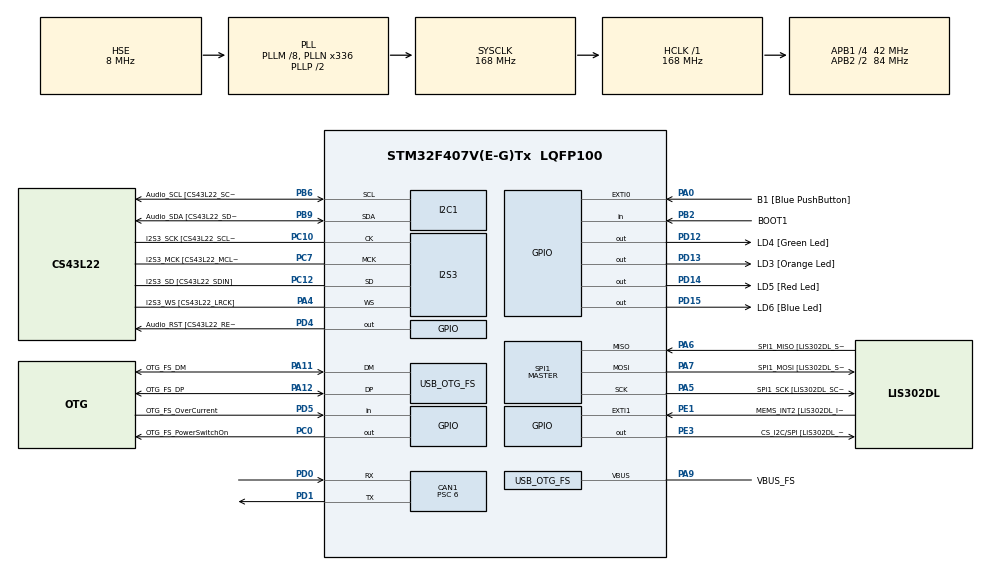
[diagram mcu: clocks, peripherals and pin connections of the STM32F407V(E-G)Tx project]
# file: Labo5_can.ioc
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CAN1.BS1=CAN_BS1_11TQ
CAN1.BS2=CAN_BS2_2TQ
CAN1.CalculateBaudRate=500000
CAN1.CalculateTimeBit=2000
CAN1.CalculateTimeQuantum=142.85714285714286
CAN1.Prescaler=6
I2S3.AudioFreq-Half_Duplex_Master=I2S_AUDIOFREQ_96K
I2S3.ErrorAudioFreq=-2.34 %
I2S3.ErrorAudioFreq-Half_Duplex_Master=0.8 %
I2S3.FullDuplexMode=I2S_FULLDUPLEXMODE_DISABLE
I2S3.Instance=SPI$Index
I2S3.RealAudioFreq=93.75 KHz
I2S3.RealAudioFreq-Half_Duplex_Master=96.774 KHz
I2S3.VirtualMode=I2S_MODE_MASTER
Mcu.Family=STM32F4
Mcu.Name=STM32F407V(E-G)Tx
Mcu.Package=LQFP100
NVIC.CAN1_RX0_IRQn=true\:0\:0\:false\:false\:true\:true\:true\:true
NVIC.OTG_FS_IRQn=true\:0\:0\:false\:false\:true\:true\:true\:true
NVIC.PriorityGroup=NVIC_PRIORITYGROUP_0
PA0-WKUP.GPIO_Label=B1 [Blue PushButton]
PA0-WKUP.GPIO_ModeDefaultEXTI=GPIO_MODE_EVT_RISING
PA0-WKUP.GPIO_PuPd=GPIO_NOPULL
PA0-WKUP.Signal=GPXTI0
PA10.GPIO_Label=OTG_FS_ID
PA10.GPIO_Mode=GPIO_MODE_AF_PP
PA10.GPIO_PuPd=GPIO_NOPULL
PA10.GPIO_Speed=GPIO_SPEED_FREQ_LOW
PA10.Signal=USB_OTG_FS_ID
PA11.GPIO_Label=OTG_FS_DM
PA11.GPIO_Mode=GPIO_MODE_AF_PP
PA11.GPIO_PuPd=GPIO_NOPULL
PA11.GPIO_Speed=GPIO_SPEED_FREQ_LOW
PA11.Mode=Device_Only
PA11.Signal=USB_OTG_FS_DM
PA12.GPIO_Label=OTG_FS_DP
PA12.GPIO_Mode=GPIO_MODE_AF_PP
PA12.GPIO_PuPd=GPIO_NOPULL
PA12.GPIO_Speed=GPIO_SPEED_FREQ_LOW
PA12.Mode=Device_Only
PA12.Signal=USB_OTG_FS_DP
PA13.GPIO_Label=SWDIO
PA13.Mode=Serial_Wire
PA13.Signal=SYS_JTMS-SWDIO
PA14.GPIO_Label=SWCLK
PA14.Mode=Serial_Wire
PA14.Signal=SYS_JTCK-SWCLK
PA4.GPIO_Label=I2S3_WS [CS43L22_LRCK]
PA4.GPIO_Mode=GPIO_MODE_AF_PP
PA4.GPIO_PuPd=GPIO_NOPULL
PA4.GPIO_Speed=GPIO_SPEED_FREQ_LOW
PA4.Mode=Half_Duplex_Master
PA4.Signal=I2S3_WS
PA5.GPIO_Label=SPI1_SCK [LIS302DL_SCL/SPC]
PA5.GPIO_Mode=GPIO_MODE_AF_PP
PA5.GPIO_PuPd=GPIO_NOPULL
PA5.GPIO_Speed=GPIO_SPEED_FREQ_LOW
PA5.Mode=Full_Duplex_Master
PA5.Signal=SPI1_SCK
PA6.GPIO_Label=SPI1_MISO [LIS302DL_SDO]
PA6.GPIO_Mode=GPIO_MODE_AF_PP
PA6.GPIO_PuPd=GPIO_NOPULL
PA6.GPIO_Speed=GPIO_SPEED_FREQ_LOW
PA6.Mode=Full_Duplex_Master
PA6.Signal=SPI1_MISO
PA7.GPIO_Label=SPI1_MOSI [LIS302DL_SDA/SDI/SDO]
PA7.GPIO_Mode=GPIO_MODE_AF_PP
PA7.GPIO_PuPd=GPIO_NOPULL
PA7.GPIO_Speed=GPIO_SPEED_FREQ_LOW
PA7.Mode=Full_Duplex_Master
PA7.Signal=SPI1_MOSI
PA9.GPIO_Label=VBUS_FS
PA9.GPIO_Mode=GPIO_MODE_INPUT
PA9.GPIO_PuPd=GPIO_NOPULL
PA9.Mode=Activate_VBUS
PA9.Signal=USB_OTG_FS_VBUS
PB10.GPIO_Label=CLK_IN [MP45DT02_CLK]
PB10.GPIO_Mode=GPIO_MODE_AF_PP
PB10.GPIO_PuPd=GPIO_NOPULL
PB10.GPIO_Speed=GPIO_SPEED_FREQ_LOW
PB10.Signal=I2S2_CK
PB2.GPIO_Label=BOOT1
PB2.GPIO_Mode=GPIO_MODE_INPUT
PB2.GPIO_PuPd=GPIO_NOPULL
PB2.Signal=GPIO_Input
PB3.GPIO_Label=SWO
PB3.Signal=SYS_JTDO-SWO
PB6.GPIO_Label=Audio_SCL [CS43L22_SCL]
PB6.GPIO_Mode=GPIO_MODE_AF_OD
PB6.GPIO_Pu=GPIO_PULLUP
PB6.GPIO_PuPd=GPIO_NOPULL
PB6.GPIO_Speed=GPIO_SPEED_FREQ_LOW
PB6.Mode=I2C
PB6.Signal=I2C1_SCL
PB9.GPIO_Label=Audio_SDA [CS43L22_SDA]
PB9.GPIO_Mode=GPIO_MODE_AF_OD
PB9.GPIO_Pu=GPIO_PULLUP
PB9.GPIO_PuPd=GPIO_NOPULL
PB9.GPIO_Speed=GPIO_SPEED_FREQ_LOW
PB9.Mode=I2C
PB9.Signal=I2C1_SDA
PC0.GPIO_Label=OTG_FS_PowerSwitchOn
PC0.GPIO_PuPd=GPIO_NOPULL
PC0.GPIO_Speed=GPIO_SPEED_FREQ_LOW
PC0.PinState=GPIO_PIN_SET
PC0.Signal=GPIO_Output
PC10.GPIO_Label=I2S3_SCK [CS43L22_SCLK]
PC10.GPIO_Mode=GPIO_MODE_AF_PP
PC10.GPIO_PuPd=GPIO_NOPULL
PC10.GPIO_Speed=GPIO_SPEED_FREQ_LOW
PC10.Mode=Half_Duplex_Master
PC10.Signal=I2S3_CK
PC12.GPIO_Label=I2S3_SD [CS43L22_SDIN]
PC12.GPIO_Mode=GPIO_MODE_AF_PP
PC12.GPIO_PuPd=GPIO_NOPULL
PC12.GPIO_Speed=GPIO_SPEED_FREQ_LOW
PC12.Mode=Half_Duplex_Master
PC12.Signal=I2S3_SD
PC14-OSC32_IN.GPIO_Label=PC14-OSC32_IN
PC14-OSC32_IN.Mode=LSE-External-Oscillator
PC14-OSC32_IN.Signal=RCC_OSC32_IN
PC15-OSC32_OUT.GPIO_Label=PC15-OSC32_OUT
PC15-OSC32_OUT.Mode=LSE-External-Oscillator
PC15-OSC32_OUT.Signal=RCC_OSC32_OUT
PC3.GPIO_Label=PDM_OUT [MP45DT02_DOUT]
PC3.GPIO_Mode=GPIO_MODE_AF_PP
PC3.GPIO_PuPd=GPIO_NOPULL
PC3.GPIO_Speed=GPIO_SPEED_FREQ_LOW
PC3.Signal=I2S2_SD
PC7.GPIO_Label=I2S3_MCK [CS43L22_MCLK]
PC7.GPIO_Mode=GPIO_MODE_AF_PP
PC7.GPIO_PuPd=GPIO_NOPULL
PC7.GPIO_Speed=GPIO_SPEED_FREQ_LOW
PC7.Mode=Master_Clock_Activated
PC7.Signal=I2S3_MCK
PD0.Mode=CAN_Activate
PD0.Signal=CAN1_RX
PD1.Mode=CAN_Activate
PD1.Signal=CAN1_TX
PD12.GPIO_Label=LD4 [Green Led]
PD12.GPIO_PuPd=GPIO_NOPULL
PD12.GPIO_Speed=GPIO_SPEED_FREQ_LOW
PD12.Signal=GPIO_Output
PD13.GPIO_Label=LD3 [Orange Led]
PD13.GPIO_PuPd=GPIO_NOPULL
PD13.GPIO_Speed=GPIO_SPEED_FREQ_LOW
PD13.Signal=GPIO_Output
PD14.GPIO_Label=LD5 [Red Led]
PD14.GPIO_PuPd=GPIO_NOPULL
PD14.GPIO_Speed=GPIO_SPEED_FREQ_LOW
PD14.Signal=GPIO_Output
PD15.GPIO_Label=LD6 [Blue Led]
PD15.GPIO_PuPd=GPIO_NOPULL
PD15.GPIO_Speed=GPIO_SPEED_FREQ_LOW
PD15.Signal=GPIO_Output
PD4.GPIO_Label=Audio_RST [CS43L22_RESET]
PD4.GPIO_PuPd=GPIO_NOPULL
PD4.GPIO_Speed=GPIO_SPEED_FREQ_LOW
PD4.Signal=GPIO_Output
PD5.GPIO_Label=OTG_FS_OverCurrent
PD5.GPIO_Mode=GPIO_MODE_INPUT
PD5.GPIO_PuPd=GPIO_NOPULL
PD5.Signal=GPIO_Input
PE1.GPIO_Label=MEMS_INT2 [LIS302DL_INT2]
PE1.GPIO_ModeDefaultEXTI=GPIO_MODE_EVT_RISING
PE1.GPIO_PuPd=GPIO_NOPULL
PE1.Signal=GPXTI1
PE3.GPIO_Label=CS_I2C/SPI [LIS302DL_CS_I2C/SPI]
PE3.GPIO_PuPd=GPIO_NOPULL
PE3.GPIO_Speed=GPIO_SPEED_FREQ_LOW
PE3.Signal=GPIO_Output
PH0-OSC_IN.GPIO_Label=PH0-OSC_IN
PH0-OSC_IN.Mode=HSE-External-Oscillator
PH0-OSC_IN.Signal=RCC_OSC_IN
PH1-OSC_OUT.GPIO_Label=PH1-OSC_OUT
PH1-OSC_OUT.Mode=HSE-External-Oscillator
PH1-OSC_OUT.Signal=RCC_OSC_OUT
ProjectManager.HeapSize=0x200
ProjectManager.StackSize=0x400
ProjectManager.TargetToolchain=STM32CubeIDE
RCC.48MHZClocksFreq_Value=48000000
RCC.AHBFreq_Value=168000000
RCC.APB1CLKDivider=RCC_HCLK_DIV4
RCC.APB1Freq_Value=42000000
RCC.APB1TimFreq_Value=84000000
RCC.APB2CLKDivider=RCC_HCLK_DIV2
RCC.APB2Freq_Value=84000000
RCC.APB2TimFreq_Value=168000000
RCC.CortexFreq_Value=168000000
RCC.HCLKFreq_Value=168000000
RCC.HSE_VALUE=8000000
RCC.HSI_VALUE=16000000
RCC.PLLM=8
RCC.PLLN=336
RCC.PLLQ=7
RCC.SYSCLKFreq_VALUE=168000000
RCC.SYSCLKSource=RCC_SYSCLKSOURCE_PLLCLK
RCC.VCOOutputFreq_Value=336000000
SPI1.BaudRatePrescaler-Full_Duplex_Master=SPI_BAUDRATEPRESCALER_2
SPI1.CalculateBaudRate-Full_Duplex_Master=42.0 MBits/s
SPI1.Direction=SPI_DIRECTION_2LINES
SPI1.Mode=SPI_MODE_MASTER
SPI1.Mode-Full_Duplex_Master=SPI_MODE_MASTER
SPI1.VirtualType=VM_MASTER
USB_DEVICE.CLASS_NAME_FS=CDC
USB_DEVICE.VirtualMode-CDC_FS=Cdc
USB_DEVICE.VirtualModeFS=Cdc_FS
USB_OTG_FS.VirtualMode=Device_Only
VP_USB_DEVICE_VS_USB_DEVICE_CDC_FS.Mode=CDC_FS
board=STM32F407G-DISC1

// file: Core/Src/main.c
/* USER CODE BEGIN Header */
/**
  ******************************************************************************
  * @file           : main.c
  * @brief          : Main program body
  ******************************************************************************
  * @attention
  *
  * Copyright (c) 2026 STMicroelectronics.
  * All rights reserved.
  *
  * This software is licensed under terms that can be found in the LICENSE file
  * in the root directory of this software component.
  * If no LICENSE file comes with this software, it is provided AS-IS.
  *
  ******************************************************************************
  */
/* USER CODE END Header */
#include "main.h"
#include "usb_device.h"

CAN_HandleTypeDef hcan1;

I2C_HandleTypeDef hi2c1;

I2S_HandleTypeDef hi2s3;

SPI_HandleTypeDef hspi1;

/* USER CODE BEGIN PV */
CAN_TxHeaderTypeDef txHeader;
CAN_RxHeaderTypeDef rxHeader;
uint8_t txData[8];
uint8_t rxData[8];
uint32_t txMailbox;
volatile uint16_t receivedValue = 0;
volatile uint8_t lastAck = 0xFF;
/* USER CODE END PV */

void SystemClock_Config(void);
static void MX_GPIO_Init(void);
static void MX_CAN1_Init(void);
static void MX_I2C1_Init(void);
static void MX_I2S3_Init(void);
static void MX_SPI1_Init(void);
/* USER CODE BEGIN PFP */

void SendLedCommand(uint8_t state);
void SendValueRequest(void);

/* USER CODE END PFP */

int main(void)
{

  /* MCU Configuration--------------------------------------------------------*/

  /* Reset of all peripherals, Initializes the Flash interface and the Systick. */
  HAL_Init();

  /* Configure the system clock */
  SystemClock_Config();

  /* Initialize all configured peripherals */
  MX_GPIO_Init();
  MX_CAN1_Init();
  MX_I2C1_Init();
  MX_I2S3_Init();
  MX_SPI1_Init();
  MX_USB_DEVICE_Init();
  /* USER CODE BEGIN 2 */

  CAN_FilterTypeDef filterConfig;

  filterConfig.FilterBank = 0;
  filterConfig.FilterMode = CAN_FILTERMODE_IDMASK;
  filterConfig.FilterScale = CAN_FILTERSCALE_32BIT;
  filterConfig.FilterIdHigh = 0x0000;
  filterConfig.FilterIdLow = 0x0000;
  filterConfig.FilterMaskIdHigh = 0x0000;
  filterConfig.FilterMaskIdLow = 0x0000;
  filterConfig.FilterFIFOAssignment = CAN_RX_FIFO0;
  filterConfig.FilterActivation = ENABLE;
  filterConfig.SlaveStartFilterBank = 14;

  if (HAL_CAN_ConfigFilter(&hcan1, &filterConfig) != HAL_OK)
  {
      Error_Handler();
  }

  if (HAL_CAN_Start(&hcan1) != HAL_OK)
  {
      Error_Handler();
  }

  if (HAL_CAN_ActivateNotification(&hcan1, CAN_IT_RX_FIFO0_MSG_PENDING) != HAL_OK)
  {
      Error_Handler();
  }
  /* USER CODE END 2 */

  /* Infinite loop */
  while (1)
  {

    /* USER CODE BEGIN 3 */

	     SendLedCommand(0x01);
	     HAL_Delay(500);
	     SendValueRequest();
	     HAL_Delay(500);

	     SendLedCommand(0x00);
	     HAL_Delay(500);
	     SendValueRequest();
	     HAL_Delay(500);

  }
  /* USER CODE END 3 */
}

void SystemClock_Config(void)
{
  RCC_OscInitTypeDef RCC_OscInitStruct = {0};
  RCC_ClkInitTypeDef RCC_ClkInitStruct = {0};

  /** Configure the main internal regulator output voltage
  */
  __HAL_RCC_PWR_CLK_ENABLE();
  __HAL_PWR_VOLTAGESCALING_CONFIG(PWR_REGULATOR_VOLTAGE_SCALE1);

  /** Initializes the RCC Oscillators according to the specified parameters
  * in the RCC_OscInitTypeDef structure.
  */
  RCC_OscInitStruct.OscillatorType = RCC_OSCILLATORTYPE_HSE;
  RCC_OscInitStruct.HSEState = RCC_HSE_ON;
  RCC_OscInitStruct.PLL.PLLState = RCC_PLL_ON;
  RCC_OscInitStruct.PLL.PLLSource = RCC_PLLSOURCE_HSE;
  RCC_OscInitStruct.PLL.PLLM = 8;
  RCC_OscInitStruct.PLL.PLLN = 336;
  RCC_OscInitStruct.PLL.PLLP = RCC_PLLP_DIV2;
  RCC_OscInitStruct.PLL.PLLQ = 7;
  if (HAL_RCC_OscConfig(&RCC_OscInitStruct) != HAL_OK)
  {
    Error_Handler();
  }

  /** Initializes the CPU, AHB and APB buses clocks
  */
  RCC_ClkInitStruct.ClockType = RCC_CLOCKTYPE_HCLK|RCC_CLOCKTYPE_SYSCLK
                              |RCC_CLOCKTYPE_PCLK1|RCC_CLOCKTYPE_PCLK2;
  RCC_ClkInitStruct.SYSCLKSource = RCC_SYSCLKSOURCE_PLLCLK;
  RCC_ClkInitStruct.AHBCLKDivider = RCC_SYSCLK_DIV1;
  RCC_ClkInitStruct.APB1CLKDivider = RCC_HCLK_DIV4;
  RCC_ClkInitStruct.APB2CLKDivider = RCC_HCLK_DIV2;

  if (HAL_RCC_ClockConfig(&RCC_ClkInitStruct, FLASH_LATENCY_5) != HAL_OK)
  {
    Error_Handler();
  }
}

static void MX_CAN1_Init(void)
{

  hcan1.Instance = CAN1;
  hcan1.Init.Prescaler = 6;
  hcan1.Init.Mode = CAN_MODE_NORMAL;
  hcan1.Init.SyncJumpWidth = CAN_SJW_1TQ;
  hcan1.Init.TimeSeg1 = CAN_BS1_11TQ;
  hcan1.Init.TimeSeg2 = CAN_BS2_2TQ;
  hcan1.Init.TimeTriggeredMode = DISABLE;
  hcan1.Init.AutoBusOff = DISABLE;
  hcan1.Init.AutoWakeUp = DISABLE;
  hcan1.Init.AutoRetransmission = DISABLE;
  hcan1.Init.ReceiveFifoLocked = DISABLE;
  hcan1.Init.TransmitFifoPriority = DISABLE;
  if (HAL_CAN_Init(&hcan1) != HAL_OK)
  {
    Error_Handler();
  }

}

static void MX_I2C1_Init(void)
{

  hi2c1.Instance = I2C1;
  hi2c1.Init.ClockSpeed = 100000;
  hi2c1.Init.DutyCycle = I2C_DUTYCYCLE_2;
  hi2c1.Init.OwnAddress1 = 0;
  hi2c1.Init.AddressingMode = I2C_ADDRESSINGMODE_7BIT;
  hi2c1.Init.DualAddressMode = I2C_DUALADDRESS_DISABLE;
  hi2c1.Init.OwnAddress2 = 0;
  hi2c1.Init.GeneralCallMode = I2C_GENERALCALL_DISABLE;
  hi2c1.Init.NoStretchMode = I2C_NOSTRETCH_DISABLE;
  if (HAL_I2C_Init(&hi2c1) != HAL_OK)
  {
    Error_Handler();
  }

}

static void MX_I2S3_Init(void)
{

  hi2s3.Instance = SPI3;
  hi2s3.Init.Mode = I2S_MODE_MASTER_TX;
  hi2s3.Init.Standard = I2S_STANDARD_PHILIPS;
  hi2s3.Init.DataFormat = I2S_DATAFORMAT_16B;
  hi2s3.Init.MCLKOutput = I2S_MCLKOUTPUT_ENABLE;
  hi2s3.Init.AudioFreq = I2S_AUDIOFREQ_96K;
  hi2s3.Init.CPOL = I2S_CPOL_LOW;
  hi2s3.Init.ClockSource = I2S_CLOCK_PLL;
  hi2s3.Init.FullDuplexMode = I2S_FULLDUPLEXMODE_DISABLE;
  if (HAL_I2S_Init(&hi2s3) != HAL_OK)
  {
    Error_Handler();
  }

}

static void MX_SPI1_Init(void)
{

  /* SPI1 parameter configuration*/
  hspi1.Instance = SPI1;
  hspi1.Init.Mode = SPI_MODE_MASTER;
  hspi1.Init.Direction = SPI_DIRECTION_2LINES;
  hspi1.Init.DataSize = SPI_DATASIZE_8BIT;
  hspi1.Init.CLKPolarity = SPI_POLARITY_LOW;
  hspi1.Init.CLKPhase = SPI_PHASE_1EDGE;
  hspi1.Init.NSS = SPI_NSS_SOFT;
  hspi1.Init.BaudRatePrescaler = SPI_BAUDRATEPRESCALER_2;
  hspi1.Init.FirstBit = SPI_FIRSTBIT_MSB;
  hspi1.Init.TIMode = SPI_TIMODE_DISABLE;
  hspi1.Init.CRCCalculation = SPI_CRCCALCULATION_DISABLE;
  hspi1.Init.CRCPolynomial = 10;
  if (HAL_SPI_Init(&hspi1) != HAL_OK)
  {
    Error_Handler();
  }

}

static void MX_GPIO_Init(void)
{
  GPIO_InitTypeDef GPIO_InitStruct = {0};

  /* GPIO Ports Clock Enable */
  __HAL_RCC_GPIOE_CLK_ENABLE();
  __HAL_RCC_GPIOC_CLK_ENABLE();
  __HAL_RCC_GPIOH_CLK_ENABLE();
  __HAL_RCC_GPIOA_CLK_ENABLE();
  __HAL_RCC_GPIOB_CLK_ENABLE();
  __HAL_RCC_GPIOD_CLK_ENABLE();

  /*Configure GPIO pin Output Level */
  HAL_GPIO_WritePin(CS_I2C_SPI_GPIO_Port, CS_I2C_SPI_Pin, GPIO_PIN_RESET);

  /*Configure GPIO pin Output Level */
  HAL_GPIO_WritePin(OTG_FS_PowerSwitchOn_GPIO_Port, OTG_FS_PowerSwitchOn_Pin, GPIO_PIN_SET);

  /*Configure GPIO pin Output Level */
  HAL_GPIO_WritePin(GPIOD, LD4_Pin|LD3_Pin|LD5_Pin|LD6_Pin
                          |Audio_RST_Pin, GPIO_PIN_RESET);

  /*Configure GPIO pin : CS_I2C_SPI_Pin */
  GPIO_InitStruct.Pin = CS_I2C_SPI_Pin;
  GPIO_InitStruct.Mode = GPIO_MODE_OUTPUT_PP;
  GPIO_InitStruct.Pull = GPIO_NOPULL;
  GPIO_InitStruct.Speed = GPIO_SPEED_FREQ_LOW;
  HAL_GPIO_Init(CS_I2C_SPI_GPIO_Port, &GPIO_InitStruct);

  /*Configure GPIO pin : OTG_FS_PowerSwitchOn_Pin */
  GPIO_InitStruct.Pin = OTG_FS_PowerSwitchOn_Pin;
  GPIO_InitStruct.Mode = GPIO_MODE_OUTPUT_PP;
  GPIO_InitStruct.Pull = GPIO_NOPULL;
  GPIO_InitStruct.Speed = GPIO_SPEED_FREQ_LOW;
  HAL_GPIO_Init(OTG_FS_PowerSwitchOn_GPIO_Port, &GPIO_InitStruct);

  /*Configure GPIO pin : PDM_OUT_Pin */
  GPIO_InitStruct.Pin = PDM_OUT_Pin;
  GPIO_InitStruct.Mode = GPIO_MODE_AF_PP;
  GPIO_InitStruct.Pull = GPIO_NOPULL;
  GPIO_InitStruct.Speed = GPIO_SPEED_FREQ_LOW;
  GPIO_InitStruct.Alternate = GPIO_AF5_SPI2;
  HAL_GPIO_Init(PDM_OUT_GPIO_Port, &GPIO_InitStruct);

  /*Configure GPIO pin : B1_Pin */
  GPIO_InitStruct.Pin = B1_Pin;
  GPIO_InitStruct.Mode = GPIO_MODE_EVT_RISING;
  GPIO_InitStruct.Pull = GPIO_NOPULL;
  HAL_GPIO_Init(B1_GPIO_Port, &GPIO_InitStruct);

  /*Configure GPIO pin : BOOT1_Pin */
  GPIO_InitStruct.Pin = BOOT1_Pin;
  GPIO_InitStruct.Mode = GPIO_MODE_INPUT;
  GPIO_InitStruct.Pull = GPIO_NOPULL;
  HAL_GPIO_Init(BOOT1_GPIO_Port, &GPIO_InitStruct);

  /*Configure GPIO pin : CLK_IN_Pin */
  GPIO_InitStruct.Pin = CLK_IN_Pin;
  GPIO_InitStruct.Mode = GPIO_MODE_AF_PP;
  GPIO_InitStruct.Pull = GPIO_NOPULL;
  GPIO_InitStruct.Speed = GPIO_SPEED_FREQ_LOW;
  GPIO_InitStruct.Alternate = GPIO_AF5_SPI2;
  HAL_GPIO_Init(CLK_IN_GPIO_Port, &GPIO_InitStruct);

  /*Configure GPIO pins : LD4_Pin LD3_Pin LD5_Pin LD6_Pin
                           Audio_RST_Pin */
  GPIO_InitStruct.Pin = LD4_Pin|LD3_Pin|LD5_Pin|LD6_Pin
                          |Audio_RST_Pin;
  GPIO_InitStruct.Mode = GPIO_MODE_OUTPUT_PP;
  GPIO_InitStruct.Pull = GPIO_NOPULL;
  GPIO_InitStruct.Speed = GPIO_SPEED_FREQ_LOW;
  HAL_GPIO_Init(GPIOD, &GPIO_InitStruct);

  /*Configure GPIO pin : OTG_FS_OverCurrent_Pin */
  GPIO_InitStruct.Pin = OTG_FS_OverCurrent_Pin;
  GPIO_InitStruct.Mode = GPIO_MODE_INPUT;
  GPIO_InitStruct.Pull = GPIO_NOPULL;
  HAL_GPIO_Init(OTG_FS_OverCurrent_GPIO_Port, &GPIO_InitStruct);

  /*Configure GPIO pin : MEMS_INT2_Pin */
  GPIO_InitStruct.Pin = MEMS_INT2_Pin;
  GPIO_InitStruct.Mode = GPIO_MODE_EVT_RISING;
  GPIO_InitStruct.Pull = GPIO_NOPULL;
  HAL_GPIO_Init(MEMS_INT2_GPIO_Port, &GPIO_InitStruct);

}

/* USER CODE BEGIN 4 */
void SendLedCommand(uint8_t state)
{
    txHeader.StdId = 0x100;
    txHeader.IDE = CAN_ID_STD;
    txHeader.RTR = CAN_RTR_DATA;
    txHeader.DLC = 1;
    txData[0] = state;

    HAL_CAN_AddTxMessage(&hcan1, &txHeader, txData, &txMailbox);
}

void SendValueRequest(void)
{
    txHeader.StdId = 0x101;
    txHeader.IDE = CAN_ID_STD;
    txHeader.RTR = CAN_RTR_DATA;
    txHeader.DLC = 0;

    HAL_CAN_AddTxMessage(&hcan1, &txHeader, txData, &txMailbox);
}

void HAL_CAN_RxFifo0MsgPendingCallback(CAN_HandleTypeDef *hcan)
{
    HAL_CAN_GetRxMessage(hcan, CAN_RX_FIFO0, &rxHeader, rxData);

    // --- afficher en PuTTY (USB CDC) ---
    static char msg[40];
    int n;
    if (rxHeader.DLC >= 2)
        n = sprintf(msg, "ID=0x%03lX D0=%02X D1=%02X\r\n", rxHeader.StdId, rxData[0], rxData[1]);
    else
        n = sprintf(msg, "ID=0x%03lX D0=%02X\r\n", rxHeader.StdId, rxData[0]);
    CDC_Transmit_FS((uint8_t*)msg, n);
    // -----------------------------------

    if (rxHeader.StdId == 0x210)
        lastAck = rxData[0];
    else if (rxHeader.StdId == 0x201)
        receivedValue = (rxData[0] << 8) | rxData[1];
}
/* USER CODE END 4 */

void Error_Handler(void)
{
  __disable_irq();
  while (1)
  {
  }
}
